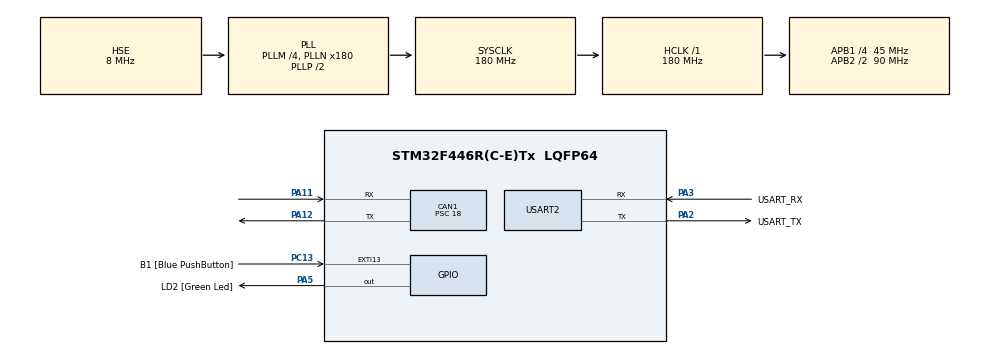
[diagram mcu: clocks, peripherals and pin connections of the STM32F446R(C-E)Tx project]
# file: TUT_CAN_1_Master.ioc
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CAN1.BS1=CAN_BS1_2TQ
CAN1.BS2=CAN_BS2_2TQ
CAN1.CalculateBaudRate=500000
CAN1.CalculateTimeBit=2000
CAN1.CalculateTimeQuantum=400.0
CAN1.Mode=CAN_MODE_LOOPBACK
CAN1.Prescaler=18
Mcu.Family=STM32F4
Mcu.Name=STM32F446R(C-E)Tx
Mcu.Package=LQFP64
NVIC.PriorityGroup=NVIC_PRIORITYGROUP_0
PA11.GPIO_PuPd=GPIO_PULLUP
PA11.Mode=CAN_Activate
PA11.Signal=CAN1_RX
PA12.Mode=CAN_Activate
PA12.Signal=CAN1_TX
PA13.GPIO_Label=TMS
PA13.Mode=Serial_Wire
PA13.Signal=SYS_JTMS-SWDIO
PA14.GPIO_Label=TCK
PA14.Mode=Serial_Wire
PA14.Signal=SYS_JTCK-SWCLK
PA2.GPIO_Label=USART_TX
PA2.Mode=Asynchronous
PA2.Signal=USART2_TX
PA3.GPIO_Label=USART_RX
PA3.Mode=Asynchronous
PA3.Signal=USART2_RX
PA5.GPIO_Label=LD2 [Green Led]
PA5.Signal=GPIO_Output
PB3.GPIO_Label=SWO
PB3.Signal=SYS_JTDO-SWO
PC13.GPIO_Label=B1 [Blue PushButton]
PC13.GPIO_ModeDefaultEXTI=GPIO_MODE_IT_FALLING
PC13.Signal=GPXTI13
PC14-OSC32_IN.Mode=LSE-External-Oscillator
PC14-OSC32_IN.Signal=RCC_OSC32_IN
PC15-OSC32_OUT.Mode=LSE-External-Oscillator
PC15-OSC32_OUT.Signal=RCC_OSC32_OUT
PH0-OSC_IN.Mode=HSE-External-Oscillator
PH0-OSC_IN.Signal=RCC_OSC_IN
PH1-OSC_OUT.Mode=HSE-External-Oscillator
PH1-OSC_OUT.Signal=RCC_OSC_OUT
ProjectManager.HeapSize=0x200
ProjectManager.StackSize=0x400
ProjectManager.TargetToolchain=STM32CubeIDE
RCC.48MHZClocksFreq_Value=84000000
RCC.AHBFreq_Value=180000000
RCC.APB1CLKDivider=RCC_HCLK_DIV4
RCC.APB1Freq_Value=45000000
RCC.APB1TimFreq_Value=90000000
RCC.APB2CLKDivider=RCC_HCLK_DIV2
RCC.APB2Freq_Value=90000000
RCC.APB2TimFreq_Value=180000000
RCC.CortexFreq_Value=180000000
RCC.FLatency-AdvancedSettings=FLASH_LATENCY_5
RCC.HCLKFreq_Value=180000000
RCC.HSE_VALUE=8000000
RCC.HSI_VALUE=16000000
RCC.PLLM=4
RCC.PLLN=180
RCC.PLLSourceVirtual=RCC_PLLSOURCE_HSE
RCC.SYSCLKFreq_VALUE=180000000
RCC.SYSCLKSource=RCC_SYSCLKSOURCE_PLLCLK
RCC.USBFreq_Value=180000000
RCC.VCOOutputFreq_Value=360000000
USART2.VirtualMode=VM_ASYNC
board=NUCLEO-F446RE

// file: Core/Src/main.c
/* USER CODE BEGIN Header */
/**
  ******************************************************************************
  * @file           : main.c
  * @brief          : Main program body
  ******************************************************************************
  * @attention
  *
  * Copyright (c) 2024 STMicroelectronics.
  * All rights reserved.
  *
  * This software is licensed under terms that can be found in the LICENSE file
  * in the root directory of this software component.
  * If no LICENSE file comes with this software, it is provided AS-IS.
  *
  ******************************************************************************
  */
/* USER CODE END Header */
#include "main.h"

CAN_HandleTypeDef hcan1;

UART_HandleTypeDef huart2;

/* USER CODE BEGIN PV */

CAN_RxHeaderTypeDef RxHeader;

uint8_t RxData[8];

uint32_t TxMailbox1;
uint32_t TxMailbox2;
uint32_t TxMailbox3;

/* USER CODE END PV */

void SystemClock_Config(void);
static void MX_GPIO_Init(void);
static void MX_USART2_UART_Init(void);
static void MX_CAN1_Init(void);

/* USER CODE BEGIN 0 */

void Can_TransmitData(uint16_t ide,uint8_t datalenght,uint32_t TxMailbox,uint8_t *pdata) {

	CAN_TxHeaderTypeDef TxHeader;
	uint8_t TxData[8];
	for(uint8_t i=0;i<datalenght;i++)
	{
		TxData[i] = *pdata++;
	}

	TxHeader.StdId = ide;
	TxHeader.RTR = CAN_RTR_DATA;
	TxHeader.IDE = CAN_ID_STD;
	TxHeader.DLC = datalenght;
	TxHeader.TransmitGlobalTime = DISABLE;

	if(HAL_CAN_AddTxMessage(&hcan1, &TxHeader, TxData, &TxMailbox) != HAL_OK)
	{
	  Error_Handler();
	}

	while(HAL_CAN_GetTxMailboxesFreeLevel(&hcan1) != 3);
}

void CAN_ReceiveData(uint8_t *pdata)
{

	if(HAL_CAN_GetRxFifoFillLevel(&hcan1, CAN_RX_FIFO0) != 1)
	{
		/* Reception Missing */
		Error_Handler();
	}

	if(HAL_CAN_GetRxMessage(&hcan1, CAN_RX_FIFO0, &RxHeader, pdata) != HAL_OK)
	{
		Error_Handler();
	}
}
/* USER CODE END 0 */

int main(void)
{

  /* MCU Configuration--------------------------------------------------------*/

  /* Reset of all peripherals, Initializes the Flash interface and the Systick. */

	HAL_Init();

  /* Configure the system clock */
  SystemClock_Config();

  /* Initialize all configured peripherals */
  MX_GPIO_Init();
  MX_USART2_UART_Init();
  MX_CAN1_Init();

  /* Infinite loop */
  /* USER CODE BEGIN WHILE */
  while (1)
  {

	  if(HAL_CAN_Start(&hcan1) != HAL_OK)
	  {
		  Error_Handler();
	  }
	  Can_TransmitData(0x11, 8,TxMailbox1,(uint8_t *)"hello 06");
	  HAL_Delay(1000);
	  CAN_ReceiveData(RxData);
	  HAL_Delay(1000);

	  Can_TransmitData(0x14, 5,TxMailbox2,(uint8_t *)"world");
	  HAL_Delay(1000);
	  CAN_ReceiveData(RxData);
	  HAL_Delay(1000);

	  HAL_CAN_Stop(&hcan1);
//
//	    if((RxHeader.StdId != 0x11)                     ||
//	       (RxHeader.RTR != CAN_RTR_DATA)               ||
//	       (RxHeader.IDE != CAN_ID_STD)                 ||
//	       (RxHeader.DLC != 8) )
//
//	    {
//	      HAL_GPIO_TogglePin(LD2_GPIO_Port, LD2_Pin);
//	      HAL_Delay(1000);
//	    }
//	    else
//	    {
//
//	  	  HAL_GPIO_TogglePin(LD2_GPIO_Port, LD2_Pin);
//	  	  HAL_Delay(100);
//	    }
    /* USER CODE END WHILE */

  }
}

void SystemClock_Config(void)
{
  RCC_OscInitTypeDef RCC_OscInitStruct = {0};
  RCC_ClkInitTypeDef RCC_ClkInitStruct = {0};

  /** Configure the main internal regulator output voltage
  */
  __HAL_RCC_PWR_CLK_ENABLE();
  __HAL_PWR_VOLTAGESCALING_CONFIG(PWR_REGULATOR_VOLTAGE_SCALE1);

  /** Initializes the RCC Oscillators according to the specified parameters
  * in the RCC_OscInitTypeDef structure.
  */
  RCC_OscInitStruct.OscillatorType = RCC_OSCILLATORTYPE_HSE;
  RCC_OscInitStruct.HSEState = RCC_HSE_ON;
  RCC_OscInitStruct.PLL.PLLState = RCC_PLL_ON;
  RCC_OscInitStruct.PLL.PLLSource = RCC_PLLSOURCE_HSE;
  RCC_OscInitStruct.PLL.PLLM = 4;
  RCC_OscInitStruct.PLL.PLLN = 180;
  RCC_OscInitStruct.PLL.PLLP = RCC_PLLP_DIV2;
  RCC_OscInitStruct.PLL.PLLQ = 2;
  RCC_OscInitStruct.PLL.PLLR = 2;
  if (HAL_RCC_OscConfig(&RCC_OscInitStruct) != HAL_OK)
  {
    Error_Handler();
  }

  /** Activate the Over-Drive mode
  */
  if (HAL_PWREx_EnableOverDrive() != HAL_OK)
  {
    Error_Handler();
  }

  /** Initializes the CPU, AHB and APB buses clocks
  */
  RCC_ClkInitStruct.ClockType = RCC_CLOCKTYPE_HCLK|RCC_CLOCKTYPE_SYSCLK
                              |RCC_CLOCKTYPE_PCLK1|RCC_CLOCKTYPE_PCLK2;
  RCC_ClkInitStruct.SYSCLKSource = RCC_SYSCLKSOURCE_PLLCLK;
  RCC_ClkInitStruct.AHBCLKDivider = RCC_SYSCLK_DIV1;
  RCC_ClkInitStruct.APB1CLKDivider = RCC_HCLK_DIV4;
  RCC_ClkInitStruct.APB2CLKDivider = RCC_HCLK_DIV2;

  if (HAL_RCC_ClockConfig(&RCC_ClkInitStruct, FLASH_LATENCY_5) != HAL_OK)
  {
    Error_Handler();
  }
}

static void MX_CAN1_Init(void)
{

  hcan1.Instance = CAN1;
  hcan1.Init.Prescaler = 18;
  hcan1.Init.Mode = CAN_MODE_LOOPBACK;
  hcan1.Init.SyncJumpWidth = CAN_SJW_1TQ;
  hcan1.Init.TimeSeg1 = CAN_BS1_2TQ;
  hcan1.Init.TimeSeg2 = CAN_BS2_2TQ;
  hcan1.Init.TimeTriggeredMode = DISABLE;
  hcan1.Init.AutoBusOff = DISABLE;
  hcan1.Init.AutoWakeUp = DISABLE;
  hcan1.Init.AutoRetransmission = DISABLE;
  hcan1.Init.ReceiveFifoLocked = DISABLE;
  hcan1.Init.TransmitFifoPriority = DISABLE;
  if (HAL_CAN_Init(&hcan1) != HAL_OK)
  {
    Error_Handler();
  }
  /* USER CODE BEGIN CAN1_Init 2 */
  CAN_FilterTypeDef sConfig = {0};

  sConfig.FilterActivation = CAN_FILTER_ENABLE;
  sConfig.FilterBank = 0;
  sConfig.FilterFIFOAssignment = CAN_RX_FIFO0;
  sConfig.FilterIdHigh = 0x000;
  sConfig.FilterIdLow = 0x000;
  sConfig.FilterMaskIdHigh = 0x000;
  sConfig.FilterMaskIdLow = 0x000;
  sConfig.FilterMode = CAN_FILTERMODE_IDMASK;
  sConfig.FilterScale = CAN_FILTERSCALE_32BIT;
  sConfig.SlaveStartFilterBank = 18;

  if(HAL_CAN_ConfigFilter(&hcan1, &sConfig) != HAL_OK)
  {
	Error_Handler();
  }
  /* USER CODE END CAN1_Init 2 */

}

static void MX_USART2_UART_Init(void)
{

  huart2.Instance = USART2;
  huart2.Init.BaudRate = 115200;
  huart2.Init.WordLength = UART_WORDLENGTH_8B;
  huart2.Init.StopBits = UART_STOPBITS_1;
  huart2.Init.Parity = UART_PARITY_NONE;
  huart2.Init.Mode = UART_MODE_TX_RX;
  huart2.Init.HwFlowCtl = UART_HWCONTROL_NONE;
  huart2.Init.OverSampling = UART_OVERSAMPLING_16;
  if (HAL_UART_Init(&huart2) != HAL_OK)
  {
    Error_Handler();
  }

}

static void MX_GPIO_Init(void)
{
  GPIO_InitTypeDef GPIO_InitStruct = {0};

  /* GPIO Ports Clock Enable */
  __HAL_RCC_GPIOC_CLK_ENABLE();
  __HAL_RCC_GPIOH_CLK_ENABLE();
  __HAL_RCC_GPIOA_CLK_ENABLE();
  __HAL_RCC_GPIOB_CLK_ENABLE();

  /*Configure GPIO pin Output Level */
  HAL_GPIO_WritePin(LD2_GPIO_Port, LD2_Pin, GPIO_PIN_RESET);

  /*Configure GPIO pin : B1_Pin */
  GPIO_InitStruct.Pin = B1_Pin;
  GPIO_InitStruct.Mode = GPIO_MODE_IT_FALLING;
  GPIO_InitStruct.Pull = GPIO_NOPULL;
  HAL_GPIO_Init(B1_GPIO_Port, &GPIO_InitStruct);

  /*Configure GPIO pin : LD2_Pin */
  GPIO_InitStruct.Pin = LD2_Pin;
  GPIO_InitStruct.Mode = GPIO_MODE_OUTPUT_PP;
  GPIO_InitStruct.Pull = GPIO_NOPULL;
  GPIO_InitStruct.Speed = GPIO_SPEED_FREQ_LOW;
  HAL_GPIO_Init(LD2_GPIO_Port, &GPIO_InitStruct);

}

void Error_Handler(void)
{
  __disable_irq();
  while (1)
  {
  }
}
